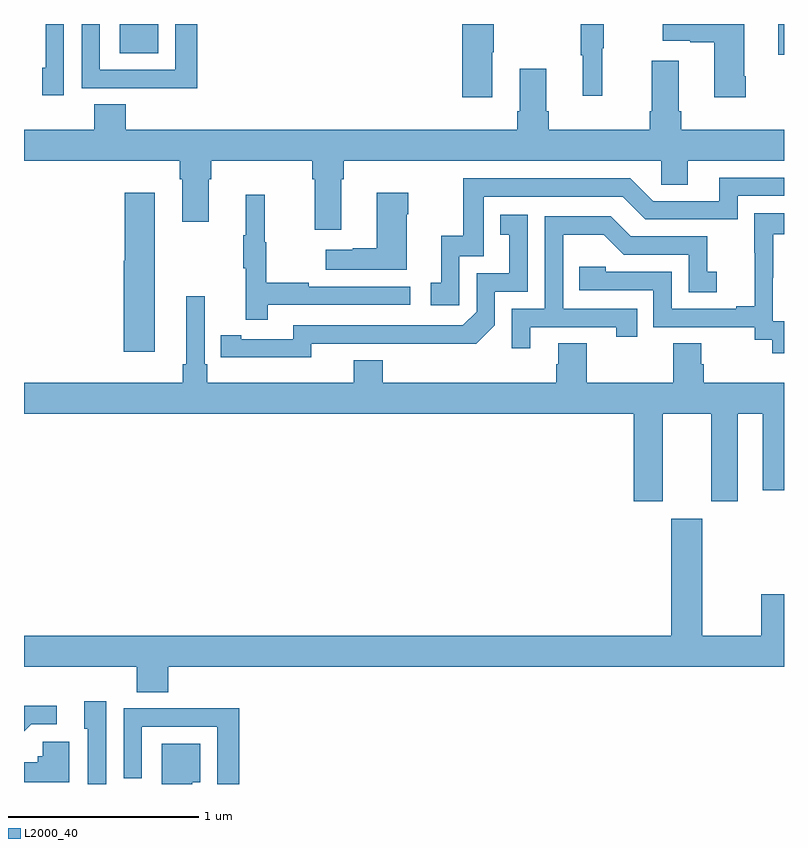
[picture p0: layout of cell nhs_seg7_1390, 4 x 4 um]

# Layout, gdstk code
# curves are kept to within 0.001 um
import gdstk
lib = gdstk.Library(unit=1e-6, precision=1e-09)
def R(c, l, rs):  # rectangles x0, y0, x1, y1
    for r in rs: c.add(gdstk.rectangle(r[:2], r[2:], *l))
def P(c, l, *ps):  # polygons
    for p in ps: c.add(gdstk.Polygon(p, *l))
L2000_40 = (2000, 40)

nhs_seg7_1390 = lib.new_cell('nhs_seg7_1390')
R(nhs_seg7_1390, L2000_40, [(210.971,1003.839,211,1004), (207.503,1003.847,207.706,1004)])
P(nhs_seg7_1390, L2000_40, [(210.044,1003.872),(210.052,1003.872),(210.052,1004),(209.931,1004),(209.931,1003.835),(209.942,1003.835),(209.942,1003.623),(210.044,1003.623)],
  [(209.464,1003.852),(209.472,1003.852),(209.472,1004),(209.306,1004),(209.306,1003.614),(209.464,1003.614)],
  [(210.798,1003.726),(210.79,1003.726),(210.79,1004),(210.363,1004),(210.363,1003.913),(210.506,1003.913),(210.506,1003.903),(210.632,1003.903),(210.632,1003.614),(210.798,1003.614)],
  [(207.911,1004),(207.795,1004),(207.795,1003.758),(207.399,1003.758),(207.399,1004),(207.303,1004),(207.303,1003.662),(207.619,1003.662),(207.619,1003.661),(207.911,1003.661)],
  [(207.21,1004),(207.114,1004),(207.114,1003.77),(207.095,1003.77),(207.095,1003.626),(207.21,1003.626)],
  [(207.536,1003.577),(207.371,1003.577),(207.371,1003.444),(207,1003.444),(207,1003.28),(207.821,1003.28),(207.821,1003.184),(207.833,1003.184),(207.833,1002.96),(207.973,1002.96),(207.973,1003.184),(207.986,1003.184),(207.986,1003.28),(208.517,1003.28),(208.517,1003.184),(208.529,1003.184),(208.529,1002.918),(208.669,1002.918),(208.669,1003.184),(208.682,1003.184),(208.682,1003.28),(210.354,1003.28),(210.354,1003.153),(210.493,1003.153),(210.493,1003.28),(211,1003.28),(211,1003.444),(210.458,1003.444),(210.458,1003.54),(210.445,1003.54),(210.445,1003.807),(210.305,1003.807),(210.305,1003.54),(210.293,1003.54),(210.293,1003.444),(209.762,1003.444),(209.762,1003.54),(209.749,1003.54),(209.749,1003.765),(209.609,1003.765),(209.609,1003.54),(209.597,1003.54),(209.597,1003.444),(207.536,1003.444)],
  [(209.292,1002.777),(209.421,1002.777),(209.421,1003.092),(210.15,1003.092),(210.27,1002.972),(210.756,1002.972),(210.756,1003.095),(211,1003.095),(211,1003.191),(210.659,1003.191),(210.659,1003.068),(210.312,1003.068),(210.192,1003.188),(209.313,1003.188),(209.313,1002.886),(209.195,1002.886),(209.195,1002.639),(209.142,1002.639),(209.142,1002.519),(209.292,1002.519)],
  [(207.688,1003.111),(207.53,1003.111),(207.53,1002.753),(207.524,1002.753),(207.524,1002.276),(207.688,1002.276)],
  [(209.014,1002.998),(209.022,1002.998),(209.022,1003.111),(208.856,1003.111),(208.856,1002.821),(208.73,1002.821),(208.73,1002.811),(208.587,1002.811),(208.587,1002.707),(209.014,1002.707)],
  [(208.283,1002.522),(209.032,1002.522),(209.032,1002.618),(208.499,1002.618),(208.499,1002.638),(208.276,1002.638),(208.276,1002.852),(208.268,1002.852),(208.268,1003.102),(208.166,1003.102),(208.166,1002.889),(208.155,1002.889),(208.155,1002.715),(208.166,1002.715),(208.166,1002.444),(208.283,1002.444)],
  [(211,1002.435),(210.942,1002.435),(210.942,1002.665),(210.944,1002.665),(210.944,1002.893),(211,1002.893),(211,1003.003),(210.844,1003.003),(210.844,1002.797),(210.845,1002.797),(210.845,1002.514),(210.749,1002.514),(210.749,1002.501),(210.408,1002.501),(210.408,1002.696),(210.063,1002.696),(210.063,1002.723),(209.923,1002.723),(209.923,1002.6),(210.312,1002.6),(210.312,1002.405),(210.846,1002.405),(210.846,1002.337),(210.939,1002.337),(210.939,1002.267),(211,1002.267)],
  [(208.512,1002.318),(209.38,1002.317),(209.478,1002.414),(209.478,1002.591),(209.652,1002.591),(209.652,1002.997),(209.506,1002.997),(209.506,1002.891),(209.555,1002.891),(209.555,1002.687),(209.382,1002.687),(209.382,1002.486),(209.31,1002.414),(208.416,1002.414),(208.416,1002.342),(208.144,1002.342),(208.144,1002.362),(208.036,1002.362),(208.036,1002.246),(208.512,1002.245)],
  [(209.665,1002.405),(210.116,1002.405),(210.116,1002.354),(210.227,1002.354),(210.227,1002.501),(209.838,1002.501),(209.838,1002.89),(210.052,1002.89),(210.156,1002.786),(210.498,1002.786),(210.498,1002.588),(210.646,1002.588),(210.646,1002.697),(210.597,1002.697),(210.597,1002.882),(210.193,1002.882),(210.088,1002.987),(209.742,1002.987),(209.742,1002.501),(209.568,1002.501),(209.568,1002.294),(209.665,1002.294)],
  [(210.617,1001.487),(210.757,1001.487),(210.757,1001.948),(210.887,1001.948),(210.887,1001.547),(211,1001.547),(211,1002.112),(210.578,1002.112),(210.578,1002.21),(210.565,1002.21),(210.565,1002.32),(210.418,1002.32),(210.418,1002.112),(209.961,1002.112),(209.961,1002.32),(209.813,1002.32),(209.813,1002.21),(209.801,1002.21),(209.801,1002.112),(208.889,1002.112),(208.889,1002.229),(208.736,1002.229),(208.736,1002.112),(207.965,1002.112),(207.965,1002.208),(207.951,1002.208),(207.951,1002.568),(207.854,1002.568),(207.854,1002.208),(207.835,1002.208),(207.835,1002.112),(207,1002.112),(207,1001.948),(210.209,1001.948),(210.209,1001.487),(210.361,1001.487),(210.361,1001.948),(210.617,1001.948)],
  [(207.758,1000.616),(211,1000.616),(211,1000.999),(210.88,1000.999),(210.88,1000.78),(210.571,1000.78),(210.571,1001.395),(210.407,1001.395),(210.407,1000.78),(207,1000.78),(207,1000.616),(207.593,1000.616),(207.593,1000.483),(207.758,1000.483)],
  [(207.432,1000.435),(207.317,1000.435),(207.317,1000.29),(207.336,1000.29),(207.336,1000),(207.432,1000)],
  [(207.037,1000.314),(207.172,1000.314),(207.172,1000.412),(207,1000.412),(207,1000.277)],
  [(208.133,1000.4),(207.841,1000.4),(207.841,1000.398),(207.525,1000.398),(207.525,1000.029),(207.621,1000.029),(207.621,1000.302),(208.017,1000.302),(208.017,1000),(208.133,1000)],
  [(207.238,1000.222),(207.099,1000.222),(207.099,1000.146),(207.073,1000.146),(207.073,1000.114),(207,1000.114),(207,1000.01),(207.238,1000.01)],
  [(207.886,1000.01),(207.928,1000.01),(207.928,1000.213),(207.725,1000.213),(207.725,1000),(207.886,1000)])

lib.write_gds('nhs_seg7_1390.gds')
